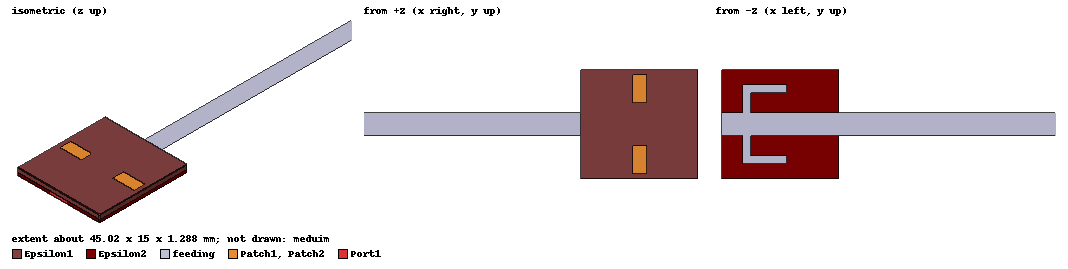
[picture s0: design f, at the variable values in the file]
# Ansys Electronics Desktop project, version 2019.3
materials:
  vacuum: permittivity=1
  Rogers RO3003 (tm): permittivity=3 dielectric_loss_tangent=0.0013
  FR4_epoxy: permittivity=4.4 dielectric_loss_tangent=0.02
  Rogers RO4350 (tm): permittivity=3.66 dielectric_loss_tangent=0.004
  air: permittivity=1.0006 permeability=1.0000004
  copper: permeability=0.999991 conductivity=58000000

design f (HFSS, DrivenModal, model units mm)
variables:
  S = 5.77mm
  S1 = 0m
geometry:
  Ground = rectangle(corner=((-16/2) mm, (-15/2) mm, 0.508mm), x_size=16mm, y_size=15mm)
  Slot = rectangle(corner=((-0.3/2) mm, -(S/2+0.75mm), 0.508mm), x_size=0.3mm, y_size=-2.4mm)
  Ground.subtract(Slot)
  Epsilon2 [Rogers RO4350 (tm)] = box(corner=((-16/2) mm, (-15/2) mm, 0mm), size=(16mm, 15mm, 0.508mm))
  Epsilon1 [Rogers RO4350 (tm)] = box(corner=((-16/2) mm, (-15/2) mm, 0.508mm), size=(16mm, 15mm, 0.78mm))
  Patch1 = rectangle(corner=((-1.96/2) mm, -S/2, (0.508+0.78) mm), x_size=1.96mm, y_size=-3.9mm)
  Port1 = rectangle(corner=((16/2) mm, (-3.179/2) mm, 0mm), y_size=3.179mm, z_size=0.508mm)
  meduim [air] = box(corner=((-20/2) mm, (-30/2) mm, (-20/2) mm), size=(20mm, 30mm, 20mm))
  Patch2 = rectangle(corner=((-1.96/2) mm, S/2, (0.508+0.78) mm), x_size=1.96mm, y_size=3.9mm)
  Slot1 = rectangle(corner=((-0.3/2) mm, S/2+0.75mm, 0.508mm), x_size=0.3mm, y_size=2.4mm)
  Ground.subtract(Slot1)
  feeding = rectangle(corner=(8mm, (-3.179/2) mm, 0mm), x_size=-8+(4.771+0.302) mm, y_size=3.179mm)
  Rectangle3 = rectangle(corner=((4.771+0.302) mm, -(S/2)-1.395mm, 0mm), x_size=-1.11mm, y_size=S+2.79mm)
  Rectangle5 = rectangle(corner=(5.073mm, -(S/2+1.395mm), 0), x_size=(-5.073-1.96/2) mm, y_size=-1.1mm)
  Feeding_Network = rectangle(corner=(5.073mm, (S/2+1.395mm), 0), x_size=(-5.073-1.96/2) mm, y_size=1.11mm)
  feeding.unite(Rectangle3, Rectangle5, Feeding_Network)
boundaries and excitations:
  Rad1: Radiation Objects=meduim
  PerfE2: Perfect E Objects=Patch1
  PerfE3: Perfect E Objects=Patch2
  PerfE4: Perfect E Objects=Ground
  1: Lumped Port Objects=Port1 Modes{Mode1{IntLine{middle of Port1.edge(z at corner) -> middle of Port1.edge(z opposite corner)} CharImp=Zpi RenormImp=50ohm}} Impedance=50ohm
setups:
  Setup1: HfssDrivenAuto IsAutoSetup AutoSolverSetting=Balanced SaveAnyFields=false Type=Interpolating
    sweep Sweep: 20GHz to 34GHz, 501 points;
  Setup2: HfssDriven Frequency=26GHz MaxDeltaS=0.02 MaximumPasses=20 MinimumPasses=1 MinimumConvergedPasses=1 PercentRefinement=30 BasisOrder=1 PortAccuracy=2
    sweep Sweep: 20GHz to 34GHz step 0.065GHz; Type=Interpolating InterpTolerance=0.5 InterpMaxSolns=250 InterpUsePortImped=false PassivityErrorTolerance=0.0001
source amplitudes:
  1:1: 1W 0deg
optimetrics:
  ParametricSetup1: Parametric Sim._Setups=[#4014, Setup2]
  ParametricSetup2: Parametric Sim._Setups=[Setup2]
  ParametricSetup3: Parametric Sim._Setups=[#4014, Setup2]
  ParametricSetup4: Parametric Sim._Setups=[#4014, Setup2]
  ParametricSetup5: Parametric Sim._Setups=[#4014, Setup2]
  ParametricSetup6: Parametric Sim._Setups=[#4014, Setup2]
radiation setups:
  Infinite Sphere1: Infinite Sphere Theta=0deg..180deg step 2deg Phi=-180deg..180deg step 2deg
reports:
  Gain Plot 1: GainTotal vs Phi, Theta on Setup2 : LastAdaptive, Infinite Sphere1 [Freq=26GHz]
  Gain Plot 2: GainTotal vs Phi, Theta on Setup2 : LastAdaptive, Infinite Sphere1 [Freq=26GHz]
  Gain Plot 3: GainTotal vs Phi, Theta on Setup2 : LastAdaptive, Infinite Sphere1 [Freq=26GHz]
  Gain Plot 4: GainTotal vs Phi, Theta on Setup2 : LastAdaptive, Infinite Sphere1 [Freq=26GHz]
